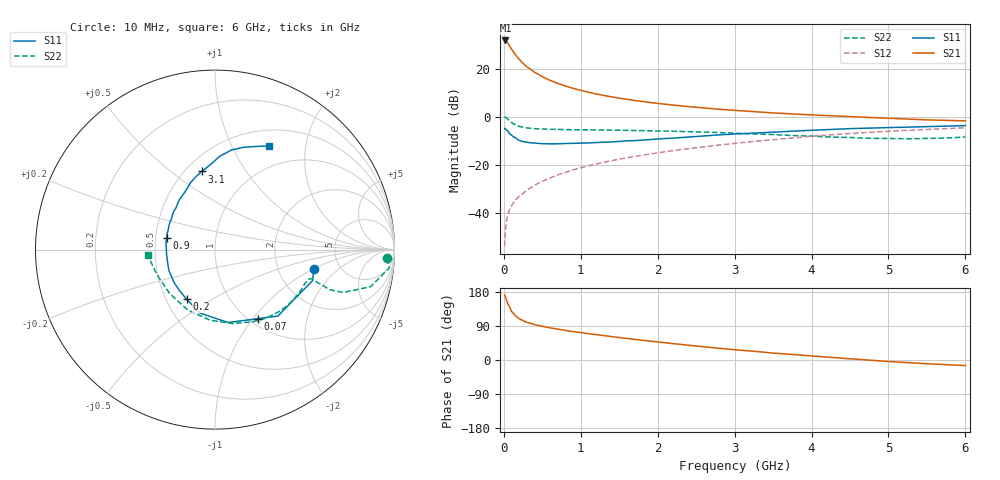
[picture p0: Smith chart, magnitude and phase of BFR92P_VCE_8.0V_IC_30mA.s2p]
! Infineon Technologies  Discrete & RF Semiconductors
! BFR92P
! VCE =  8.0 V,  IC =  30 mA
! Common Emitter S-Parameters:  Apr 2014
# GHz  S  MA  R  50
!  f  S11  S21  S12  S22
! GHz  MAG  ANG  MAG  ANG  MAG  ANG  MAG  ANG
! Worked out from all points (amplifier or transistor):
!   77 points, 10 MHz to 6 GHz, reference 50 ohm
!   highest |S21| = 31.7 dB at 20 MHz (marker M1)
!   |S21| within 3 dB of that: start of sweep to 87.37 MHz
!   unconditionally stable (mu >= 1): 377.5 MHz to 2.119 GHz
!   at 130 MHz: K = 0.64, MSG = 31.2 dB, |S12| = -35.7 dB
!   at 2.2 GHz: K = 0.99, MSG = 9.5 dB, |S12| = -14.2 dB
!   at 6 GHz: K = 0.87, MSG = 1.4 dB, |S12| = -4.6 dB
!   S11 on the Smith chart (normalised r, x): 10 MHz: 3.21, -1.03; 70 MHz: 1.09, -1.06; 200 MHz: 0.63, -0.39; 900 MHz: 0.57, +0.08; 3.1 GHz: 0.60, +0.65; 6 GHz: 0.70, +1.40
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0.01  0.5626 -11.2  38.66 171.7  0.002 82.0  0.961 -2.9
0.02  0.5697 -17.8  38.67 166.5  0.0043 78.3  0.9768 -6.0
0.05  0.5096 -46.6  34.33 148.8  0.0091 68.5  0.8911 -13.4
0.07  0.4529 -58.1  30.37 142.0  0.011 66.9  0.8356 -15.2
0.1  0.4126 -79.9  25.53 128.2  0.0139 65.3  0.7543 -18.5
0.15  0.3634 -103.1  19.7 116.9  0.0182 66.7  0.6744 -19.3
0.2  0.319 -119.6  15.59 108.8  0.022 67.0  0.6262 -18.2
0.25  0.3017 -131.2  12.86 103.9  0.0253 68.0  0.6018 -17.9
0.3  0.2927 -141.3  10.95 99.4  0.0292 70.4  0.5812 -17.1
0.4  0.2818 -155.9  8.401 93.5  0.0372 72.2  0.5617 -16.8
0.5  0.2731 -165.9  6.788 88.9  0.045 74.0  0.5527 -17.1
0.6  0.271 -174.6  5.708 84.9  0.0527 74.6  0.5456 -17.8
0.7  0.2716 178.3  4.928 81.4  0.061 74.9  0.5419 -18.6
0.8  0.2755 172.3  4.335 78.1  0.0689 75.2  0.5379 -19.9
0.9  0.2778 166.3  3.892 75.0  0.0779 75.4  0.5342 -21.3
1.1  0.2825 157.5  3.219 69.5  0.0948 74.6  0.5314 -24.3
1.5  0.3045 141.3  2.427 59.3  0.13 72.9  0.521 -31.0
2.1  0.3494 122.0  1.814 45.5  0.1858 68.6  0.4995 -42.2
3.1  0.4418 99.5  1.32 25.5  0.2876 58.7  0.4454 -65.0
4.1  0.5281 85.8  1.069 9.3  0.3995 46.6  0.3856 -97.6
5.1  0.5967 73.1  0.911 -5.2  0.5046 31.9  0.348 -140.1
6  0.6504 62.7  0.818 -14.7  0.5865 18.4  0.3764 -175.5
